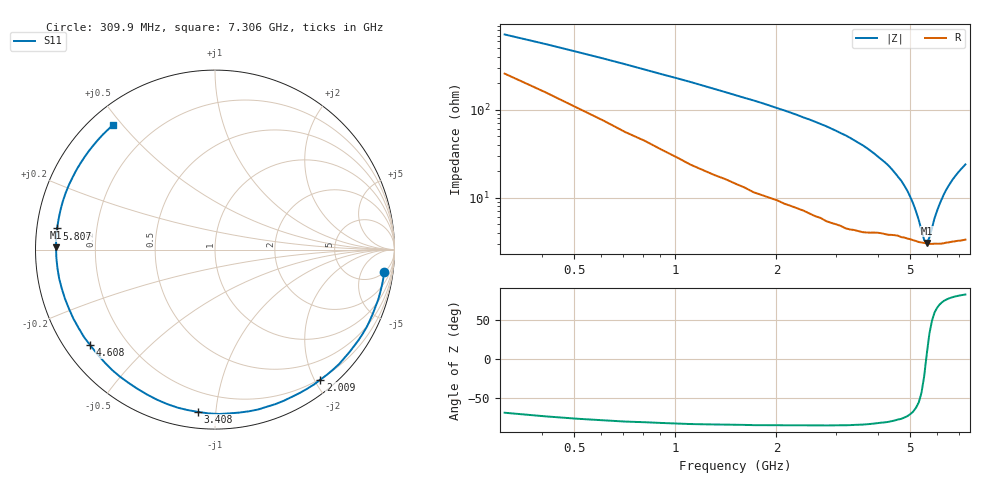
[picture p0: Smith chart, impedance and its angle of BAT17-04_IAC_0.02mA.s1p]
! Infineon Technologies  Discrete & RF Semiconductors
! BAT17-04
! IAC = 0.02 mA
! One-Port S-Parameters
# Hz  S  MA  R  50
!f  S11
!Hz  Mag  Ang
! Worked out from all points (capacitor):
!   71 points, 309.9 MHz to 7.306 GHz, reference 50 ohm
!   read as one part to ground: C = 717 fF near 309.9 MHz
!   lowest |Z| = 3.05 ohm at 5.607 GHz (marker M1)
!   series resonance near 5.586 GHz, so ESL is about 1.1 nH
!   S11 on the Smith chart (normalised r, x): 309.9 MHz: 5, -13; 2.009 GHz: 0.19, -2.08; 3.408 GHz: 0.09, -0.90; 4.608 GHz: 0.07, -0.34; 5.807 GHz: 0.06, +0.07; 7.306 GHz: 0.07, +0.47
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3.0985e8  0.9516 -7.4
7.0965e8  0.9511 -17.0
1.0095e9  0.9489 -24.4
1.2094e9  0.9473 -29.6
1.70915e9  0.9406 -42.6
2.009e9  0.9327 -51.0
2.10895e9  0.9323 -53.7
2.6087e9  0.9243 -68.7
2.8086e9  0.9227 -74.9
3.0085e9  0.918 -81.7
3.2084e9  0.9161 -88.5
3.4083e9  0.9094 -96.0
3.6082e9  0.9049 -103.2
3.8081e9  0.8965 -111.2
4.008e9  0.8877 -119.3
4.30785e9  0.8825 -130.4
4.6077e9  0.8757 -142.6
4.70765e9  0.8776 -146.1
5.0075e9  0.878 -158.1
5.2074e9  0.8808 -165.8
5.4073e9  0.8839 -173.3
5.6072e9  0.8858 179.2
5.8071e9  0.888 172.4
5.90705e9  0.8879 168.7
6.2069e9  0.8901 159.3
6.50675e9  0.8906 150.2
6.90655e9  0.8927 139.2
7.30635e9  0.8968 129.1
